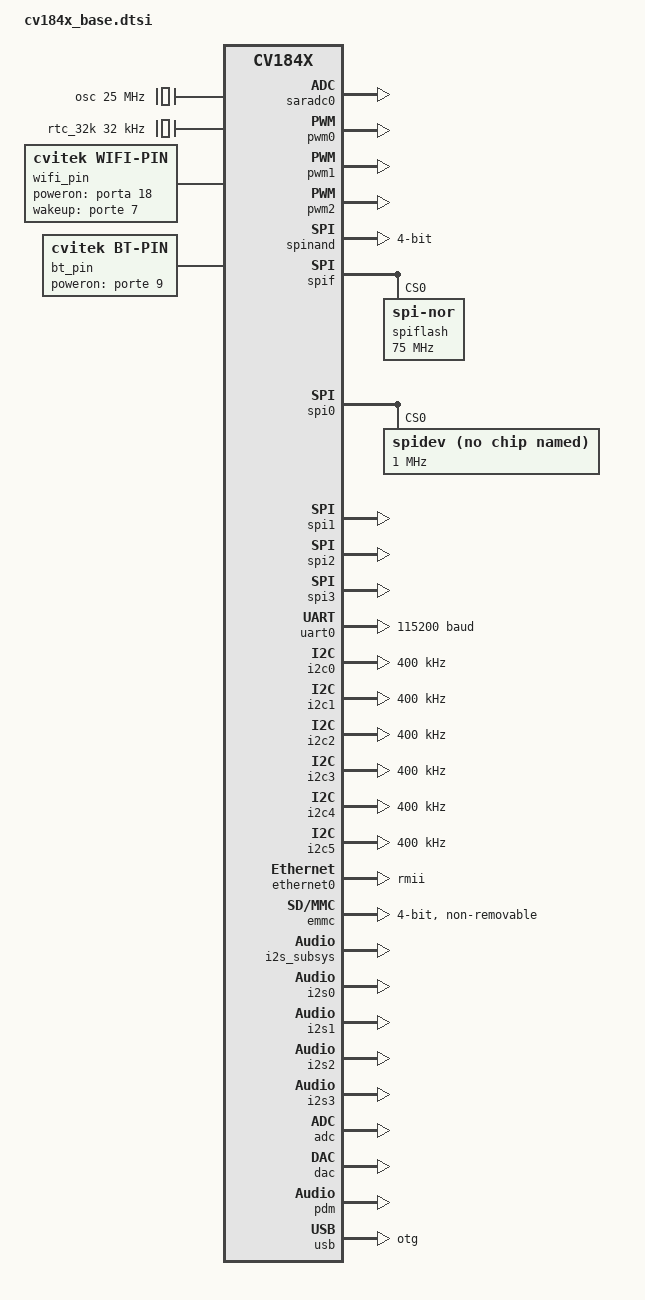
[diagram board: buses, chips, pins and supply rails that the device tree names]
#include <dt-bindings/input/input.h>
#include <dt-bindings/soc/cvitek,boot-mode.h>
#include <dt-bindings/clock/cv184x-clock.h>

/ {
	compatible = "cvitek,cv184x";

	#size-cells = <0x2>;
	#address-cells = <0x2>;

	top_misc:top_misc_ctrl@3000000 {
		compatible = "syscon";
		reg = <0x0 0x03000000 0x0 0x8000>;
	};

	clk_rst: clk-reset-controller {
		#reset-cells = <1>;
		compatible = "cvitek,clk-reset";
		reg = <0x0 0x030020E8 0x0 0x20>;
	};

	osc: oscillator {
		#clock-cells = <0>;
		compatible = "fixed-clock";
		clock-frequency = <25000000>;
		clock-output-names = "osc";
	};

	rtc_32k: rtc_32k_clk {
		clock-output-names = "rtc_32k";
		clock-frequency = <32000>;
		#clock-cells = <0>;
		compatible = "fixed-clock";
	};

	clk: clock-controller {
		compatible = "cvitek,cv184x-clk";
		reg = <0x0 0x03002000 0x0 0x1000>, <0x0 0x05025000 0 0x100>;
		clocks = <&osc>, <&rtc_32k>;
		#clock-cells = <1>;
	};

	rst: reset-controller {
		#reset-cells = <1>;
		compatible = "cvitek,reset";
		reg = <0x0 0x03003000 0x0 0x30>, <0x0 0x05025018 0 0x4>;
	};

	restart: restart-controller {
		compatible = "cvitek,restart";
		reg = <0x0 0x05025000 0x0 0x2000>;
	};

	tpu: bmtpu {
		compatible = "cvitek,tpu";
		reg-names = "tpu_gdma", "tpu_sys","tpu_reg","tpu_smem","tpu_lmem";
		reg = <0x0 0x0C000000 0x0 0x10000>,
			<0x0 0x0C010000 0x0 0x30000>,
			<0x0 0x0C040000 0x0 0x1000>,
			<0x0 0x0C041000 0x0 0x800>,
			<0x0 0x0C080000 0x0 0x8000>;
		interrupts = <GIC_SPI 89 IRQ_TYPE_LEVEL_HIGH>,
			<GIC_SPI 90 IRQ_TYPE_LEVEL_HIGH>,
			<GIC_SPI 91 IRQ_TYPE_LEVEL_HIGH>,
			<GIC_SPI 92 IRQ_TYPE_LEVEL_HIGH>,
			<GIC_SPI 93 IRQ_TYPE_LEVEL_HIGH>,
			<GIC_SPI 94 IRQ_TYPE_LEVEL_HIGH>,
			<GIC_SPI 95 IRQ_TYPE_LEVEL_HIGH>;
	};

	mon {
		compatible = "cvitek,mon";
		reg-names = "pcmon", "ddr_ctrl", "ddr_phyd", "ddr_aximon", "ddr_top";
		reg = <0x0 0x01040000 0x0 0x1000>,
			<0x0 0x08004000 0x0 0x1000>,
			<0x0 0x08006000 0x0 0x1000>,
			<0x0 0x08008000 0x0 0x1000>,
			<0x0 0x0800A000 0x0 0x1000>;
	};

	wiegand0 {
		compatible = "cvitek,wiegand";
		reg-names = "wiegand";
		reg = <0x0 0x03030000 0x0 0x1000>;
		clocks = <&clk CV184X_CLK_WGN0>;
		clock-names = "clk_wgn0";
		resets = <&rst RST_WGN0>;
		reset-names = "res_wgn";
	};

	wiegand1 {
		compatible = "cvitek,wiegand";
		reg-names = "wiegand";
		reg = <0x0 0x03031000 0x0 0x1000>;
		clocks = <&clk CV184X_CLK_WGN1>;
		clock-names = "clk_wgn1";
		resets = <&rst RST_WGN1>;
		reset-names = "res_wgn";
	};

	wiegand2 {
		compatible = "cvitek,wiegand";
		reg-names = "wiegand";
		reg = <0x0 0x03032000 0x0 0x1000>;
		clocks = <&clk CV184X_CLK_WGN2>;
		clock-names = "clk_wgn2";
		resets = <&rst RST_WGN2>;
		reset-names = "res_wgn";
	};

	saradc0: saradc@0x030F0000 {
		compatible = "cvitek,saradc";
		reg-names = "saradc0", "saradc1", "saradc2", "rtc_saradc0", "rtc_saradc1";
		reg = <0x0 0x030F0000 0x0 0x1000>, <0x0 0x030F1000 0x0 0x1000>,
		      <0x0 0x030F2000 0x0 0x1000>, <0x0 0x0502C000 0x0 0x1000>,
		      <0x0 0x0502F000 0x0 0x1000>;
		clocks = <&clk CV184X_CLK_SARADC>, <&clk CV184X_CLK_RTC_SYS_SARADC>;
		clock-names = "clk_saradc","clk_rtc_sys_saradc";
		resets = <&rst RST_SARADC>;
		reset-names = "res_saradc";
		#io-channel-cells = <1>;
	};

	rtc {
		compatible = "cvitek,rtc";
		reg = <0x0 0x05026000 0x0 0x1000>,<0x0 0x05025000 0x0 0x1000>;
	};

#ifndef __UBOOT__
	cvitek-ion {
		compatible = "cvitek,cvitek-ion";

		heap_carveout@0 {
			compatible = "cvitek,carveout";
			memory-region = <&ion_reserved>;
		};
	};
#endif

	sysdma_remap {
		compatible = "cvitek,sysdma_remap";
		reg = <0x0 0x03000154 0x0 0x10>;
		ch-remap = <CVI_I2S0_RX CVI_I2S2_TX CVI_I2S1_RX CVI_I2S1_TX
					CVI_SPI_NAND CVI_SPI_NAND CVI_I2S2_RX CVI_I2S3_TX>;
		int_mux_base = <0x03000298>;
		int_mux = <0x1FF>; /* enable bit [0..8] for CPU0(CA53) */
	};

	dmac: dma@0x4330000 {
		compatible = "snps,dmac-bm";
		reg = <0x0 0x04330000 0x0 0x1000>;
		clock-names = "clk_sdma0_axi";
		clocks = <&clk CV184X_CLK_SDMA0_AXI>;

		dma-channels = /bits/ 8 <8>;
		#dma-cells = <3>;
		dma-requests = /bits/ 8 <16>;
		chan_allocation_order = /bits/ 8 <0>;
		chan_priority = /bits/ 8 <1>;
		block_size = <1024>;
		dma-masters = /bits/ 8 <2>;
		data-width = <4 4>; /* bytes */
		axi_tr_width = <4>; /* bytes */
		block-ts = <15>;
	};

	watchdog0: cv-wd@0x3010000 {
		compatible = "snps,dw-wdt";
		reg = <0x0 0x03010000 0x0 0x1000>;
		interrupts = <GIC_SPI 76 IRQ_TYPE_LEVEL_HIGH>;
		resets = <&rst RST_WDT0>;
		clocks = <&clk CV184X_CLK_APB_WDT>, <&clk CV184X_CLK_WDT_PCLK>;
		clock-names = "pclk", "tclk";
	};

	spacc: cvi_spacc@02060000 {
		reg = <0x0 0x02060000 0x0 0x1000>;
		compatible = "cvitek,spacc";
		clocks = <&clk CV184X_CLK_EFUSE>, <&clk CV184X_CLK_EFUSE_PCLK>;
		clock-names = "tclk","pclk";
	};

	trng: dw_trng@0x02070000 {
		reg = <0x0 0x02070000 0x0 0x1000>;
		compatible = "snps,dw-trng";
	};

	pwm0: pwm@3060000 {
		compatible = "cvitek,cvi-pwm";
		reg = <0x0 0x3060000 0x0 0x1000>;
		clocks = <&clk CV184X_CLK_PWM>;
		#pwm-cells = <1>;
	};

	pwm1: pwm@3061000 {
		compatible = "cvitek,cvi-pwm";
		reg = <0x0 0x3061000 0x0 0x1000>;
		clocks = <&clk CV184X_CLK_PWM>;
		#pwm-cells = <2>;
	};

	pwm2: pwm@3062000 {
		compatible = "cvitek,cvi-pwm";
		reg = <0x0 0x3062000 0x0 0x1000>;
		clocks = <&clk CV184X_CLK_PWM>;
		#pwm-cells = <3>;
	};

	spinand:cv-spinf@4060000 {
		compatible = "cvitek,cv1835-spinf";
		clocks = <&clk CV184X_CLK_SPI_NAND>, <&clk CV184X_CLK_SPI_NAND_GATE>;
		clock-names = "clk_nand", "clk_axi";
		reg = <0x0 0x4060000 0x0 0x1000>;
		reg-names = "core_mem";
		bus-width = <4>;
		dmas = <&dmac 4 1 1
			&dmac 5 1 1>;
		dma-names = "rx","tx";
	};

	spif:cvi-spif@10000000 {
		u-boot,dm-spl;
		compatible = "snps,dw-apb-ssi-4.04a";
		clocks = <&clk CV184X_CLK_SPI_NOR>, <&clk CV184X_CLK_AHB_SF>;
		clock-names = "", "clk_sf";
		reg = <0x0 0x10000000 0x0 0x1000>;
		/* current work frequency in kernel: */
		spi-work-frequency = <75000000>;
		/* current work frequency in u-boot: */
		spi-max-frequency = <75000000>;
		rx-sample-delay-ns = <1>;
		txd-drive-edge = <0>;
		#address-cells = <1>;
		#size-cells = <0>;
		reg-io-width = <4>;
		num-cs = <1>;
		dmas = <&dmac 4 1 1
			&dmac 5 1 1>;
		dma-names = "rx", "tx";
		capability = "rxtx";
		spiflash {
			/* Max work frequency in kernel: */
			spi-max-frequency = <75000000>;
			compatible = "jedec,spi-nor";
			spi-tx-bus-width = <4>;
			spi-rx-bus-width = <4>;
			reg = <0>;
		};
	};

	spi0:spi0@04180000 {
		compatible = "snps,dw-apb-ssi";
		reg = <0x0 0x04180000 0x0 0x10000>;
		clocks = <&clk CV184X_CLK_APB_SPI0>;
		#address-cells = <1>;
		#size-cells = <0>;
#if 0
		dmas = <&dmac 2 1 1
			&dmac 3 1 1>;
		dma-names = "rx", "tx";
		capability = "txrx";
#endif
		status = "okay";
		num-cs = <1>;
		spidev@0 {
			compatible = "rohm,dh2228fv";
			spi-max-frequency = <1000000>;
			reg = <0>;
		};
	};

	spi1:spi1@04190000 {
		compatible = "snps,dw-apb-ssi";
		reg = <0x0 0x04190000 0x0 0x10000>;
		clocks = <&clk CV184X_CLK_APB_SPI1>;
		#address-cells = <1>;
		#size-cells = <0>;
	};

	spi2:spi2@041A0000 {
		compatible = "snps,dw-apb-ssi";
		reg = <0x0 0x041A0000 0x0 0x10000>;
		clocks = <&clk CV184X_CLK_APB_SPI2>;
		#address-cells = <1>;
		#size-cells = <0>;
	};

	spi3:spi3@041B0000 {
		compatible = "snps,dw-apb-ssi";
		reg = <0x0 0x041B0000 0x0 0x10000>;
		clocks = <&clk CV184X_CLK_APB_SPI3>;
		#address-cells = <1>;
		#size-cells = <0>;
#if 0
		dmas = <&dmac 2 1 1
			&dmac 3 1 1>;
		dma-names = "rx", "tx";
		capability = "txrx";
#endif
	};

	uart0: serial@04140000 {
		compatible = "snps,dw-apb-uart";
		reg = <0x0 0x04140000 0x0 0x1000>;
		clocks = <&clk CV184X_CLK_UART0>;
		clock-names = "baudclk";
		clock-frequency = <25000000>;
		current-speed = <115200>;
		reg-shift = <2>;
		reg-io-width = <4>;
		status = "okay";
	};

	uart1: serial@04150000 {
		compatible = "snps,dw-apb-uart";
		reg = <0x0 0x04150000 0x0 0x1000>;
		clocks = <&clk CV184X_CLK_UART1>;
		clock-names = "baudclk";
		clock-frequency = <200000000>;
		reg-shift = <2>;
		reg-io-width = <4>;
		status = "disabled";
	};

	uart2: serial@04160000 {
		compatible = "snps,dw-apb-uart";
		reg = <0x0 0x04160000 0x0 0x1000>;
		clock-frequency = <200000000>;
		clocks = <&clk CV184X_CLK_UART2>;
		clock-names = "baudclk";
		reg-shift = <2>;
		reg-io-width = <4>;
		status = "disabled";
	};

	uart3: serial@04170000 {
		compatible = "snps,dw-apb-uart";
		reg = <0x0 0x04170000 0x0 0x1000>;
		clock-frequency = <200000000>;
		clocks = <&clk CV184X_CLK_UART3>;
		clock-names = "baudclk";
		reg-shift = <2>;
		reg-io-width = <4>;
		status = "disabled";
	};

	uart4: serial@041C0000 {
		compatible = "snps,dw-apb-uart";
		reg = <0x0 0x041C0000 0x0 0x1000>;
		clock-frequency = <200000000>;
		clocks = <&clk CV184X_CLK_UART4>;
		clock-names = "baudclk";
		reg-shift = <2>;
		reg-io-width = <4>;
		status = "disabled";
	};

	gpio0: gpio@03020000 {
		compatible = "snps,dw-apb-gpio";
		reg = <0x0 0x03020000 0x0 0x1000>;
		#address-cells = <1>;
		#size-cells = <0>;

		porta: gpio-controller@0 {
			compatible = "snps,dw-apb-gpio-port";
			bank-name = "porta";
			gpio-controller;
			#gpio-cells = <2>;
			snps,nr-gpios = <32>;
			reg = <0>;
		};
	};

	gpio1: gpio@03021000 {
		compatible = "snps,dw-apb-gpio";
		reg = <0x0 0x03021000 0x0 0x1000>;
		#address-cells = <1>;
		#size-cells = <0>;

		portb: gpio-controller@1 {
			compatible = "snps,dw-apb-gpio-port";
			bank-name = "portb";
			gpio-controller;
			#gpio-cells = <2>;
			snps,nr-gpios = <32>;
			reg = <0>;
		};
	};

	gpio2: gpio@03022000 {
		compatible = "snps,dw-apb-gpio";
		reg = <0x0 0x03022000 0x0 0x1000>;
		#address-cells = <1>;
		#size-cells = <0>;

		portc: gpio-controller@2 {
			compatible = "snps,dw-apb-gpio-port";
			bank-name = "portc";
			gpio-controller;
			#gpio-cells = <2>;
			snps,nr-gpios = <32>;
			reg = <0>;
		};
	};

	gpio3: gpio@03023000 {
		compatible = "snps,dw-apb-gpio";
		reg = <0x0 0x03023000 0x0 0x1000>;
		#address-cells = <1>;
		#size-cells = <0>;

		portd: gpio-controller@3 {
			compatible = "snps,dw-apb-gpio-port";
			bank-name = "portd";
			gpio-controller;
			#gpio-cells = <2>;
			snps,nr-gpios = <32>;
			reg = <0>;
		};
	};

	gpio4: gpio@05021000 {
		compatible = "snps,dw-apb-gpio";
		reg = <0x0 0x05021000 0x0 0x1000>;
		#address-cells = <1>;
		#size-cells = <0>;

		porte: gpio-controller@4 {
			compatible = "snps,dw-apb-gpio-port";
			bank-name = "porte";
			gpio-controller;
			#gpio-cells = <2>;
			snps,nr-gpios = <32>;
			reg = <0>;
		};
	};

	i2c0: i2c@04000000 {
		compatible = "snps,designware-i2c";
		clocks = <&clk CV184X_CLK_APB_I2C0>;
		reg = <0x0 0x04000000 0x0 0x1000>;
		clock-frequency = <400000>;

		#size-cells = <0x0>;
		#address-cells = <0x1>;
		resets = <&rst RST_I2C0>;
		reset-names = "i2c0";
	};

	i2c1: i2c@04010000 {
		compatible = "snps,designware-i2c";
		clocks = <&clk CV184X_CLK_APB_I2C1>;
		reg = <0x0 0x04010000 0x0 0x1000>;
		clock-frequency = <400000>;

		#size-cells = <0x0>;
		#address-cells = <0x1>;
		resets = <&rst RST_I2C1>;
		reset-names = "i2c1";
	};

	i2c2: i2c@04020000 {
		compatible = "snps,designware-i2c";
		clocks = <&clk CV184X_CLK_APB_I2C2>;
		reg = <0x0 0x04020000 0x0 0x1000>;
		clock-frequency = <400000>;
		resets = <&rst RST_I2C2>;
		reset-names = "i2c2";
	};

	i2c3: i2c@04030000 {
		compatible = "snps,designware-i2c";
		clocks = <&clk CV184X_CLK_APB_I2C3>;
		reg = <0x0 0x04030000 0x0 0x1000>;
		clock-frequency = <400000>;

		#size-cells = <0x0>;
		#address-cells = <0x1>;
		resets = <&rst RST_I2C3>;
		reset-names = "i2c3";
	};

	i2c4: i2c@04040000 {
		compatible = "snps,designware-i2c";
		clocks = <&clk CV184X_CLK_APB_I2C4>;
		reg = <0x0 0x04040000 0x0 0x1000>;
		clock-frequency = <400000>;
		resets = <&rst RST_I2C4>;
		reset-names = "i2c4";
	};

	i2c5: i2c@0502B000 {
		compatible = "snps,designware-i2c";
		clocks = <&clk CV184X_CLK_RTC_SYS_I2C>;
		reg = <0x0 0x0502B000 0x0 0x1000>;
		clock-frequency = <400000>;

		#size-cells = <0x0>;
		#address-cells = <0x1>;
		resets = <&rst RST_RTC_I2C>;
		reset-names = "i2c5";
	};

	eth_csrclk: eth_csrclk {
		clock-output-names = "eth_csrclk";
		clock-frequency = <250000000>;
		#clock-cells = <0x0>;
		compatible = "fixed-clock";
	};

	eth_ptpclk: eth_ptpclk {
		clock-output-names = "eth_ptpclk";
		clock-frequency = <50000000>;
		#clock-cells = <0x0>;
		compatible = "fixed-clock";
	};

	stmmac_axi_setup: stmmac-axi-config {
		snps,wr_osr_lmt = <1>;
		snps,rd_osr_lmt = <2>;
		snps,blen = <4 8 16 0 0 0 0>;
	};

	mtl_rx_setup: rx-queues-config {
		snps,rx-queues-to-use = <1>;
		queue0 {};
	};

	mtl_tx_setup: tx-queues-config {
		snps,tx-queues-to-use = <1>;
		queue0 {};
	};

	ethernet0: ethernet@4070000 {
		compatible = "cvitek,ethernet";
		reg = <0x0 0x04070000 0x0 0x10000>;
		clock-names = "clk_500m_eth", "clk_axi4_eth", "stmmaceth", "ptp_ref";
		clocks = <&clk CV184X_CLK_ETHER0_ETH_PLL>,
			<&clk CV184X_CLK_AXI4_ETH0>,
			<&eth_csrclk>,
			<&eth_ptpclk>;
		//phy-reset-gpios = <&porta 26 0>;
		ephy_base_reg = <0x3009000>;
		ephy_top_reg = <0x3009800>;
		tx-fifo-depth = <8192>;
		rx-fifo-depth = <8192>;
		/* no hash filter and perfect filter support */
		snps,multicast-filter-bins = <0>;
		snps,perfect-filter-entries = <1>;
		snps,txpbl = <8>;
		snps,rxpbl = <8>;
		snps,aal;

		snps,axi-config = <&stmmac_axi_setup>;
		snps,mtl-rx-config = <&mtl_rx_setup>;
		snps,mtl-tx-config = <&mtl_tx_setup>;

		phy-mode = "rmii";
	};

	emmc:cv-emmc@4300000 {
		u-boot,dm-spl;
		compatible = "cvitek,cv184x-emmc";
		reg = <0x0 0x4300000 0x0 0x1000>;
		reg-names = "core_mem";
		bus-width = <4>;
		non-removable;
		no-sdio;
		no-sd;
		src-frequency = <400000000>;
		min-frequency = <400000>;
		max-frequency = <200000000>;
		64_addressing;
		reset_tx_rx_phy;
		pll_reg = <0x30020a0>;
		pll_index = <0x180>;
		clocks = <&clk CV184X_CLK_EMMC_CARD>, <&clk CV184X_CLK_AXI4_EMMC>;
		clock-names = "clk_emmc", "clk_axi";
	};

	sd:cv-sd@4310000 {
		compatible = "cvitek,cv184x-sd";
		reg = <0x0 0x4310000 0x0 0x1000>;
		reg-names = "core_mem";
		bus-width = <4>;
		cap-sd-highspeed;
		src-frequency = <400000000>;
		min-frequency = <400000>;
		max-frequency = <200000000>;
		no-sdio;
		no-mmc;
		/*no-1-8-v;*/
		64_addressing;
		reset_tx_rx_phy;
		reset-names = "sdhci";
		pll_reg = <0x3002098>;
		pll_index = <0x18>;
		clocks = <&clk CV184X_CLK_SD0>, <&clk CV184X_CLK_AXI4_SD0>;
		clock-names = "clk_sd", "clk_axi";
	};

	wifisd:wifi-sd@4320000 {
		compatible = "cvitek,cv184x-sdio";
		bus-width = <4>;
		reg = <0x0 0x4320000 0x0 0x1000>;
		reg_names = "core_mem";
		src-frequency = <400000000>;
		min-frequency = <400000>;
		max-frequency = <50000000>;
		64_addressing;
		reset_tx_rx_phy;
		non-removable;
		pll_index = <0x60>;
		pll_reg = <0x300209C>;
		clocks = <&clk CV184X_CLK_SD1>, <&clk CV184X_CLK_AXI4_SD1>;
		clock-names = "clk_wifisd", "clk_axi";
		no-mmc;
		no-sd;
		status = "disabled";
	};

	i2s_subsys {
		compatible = "cvitek,i2s_tdm_subsys";
		reg = <0x0 0x04108000 0x0 0x100>;
		clocks = <&clk CV184X_CLK_A0PLL>, <&clk CV184X_CLK_A24K>,
			<&clk CV184X_CLK_AUD0>, <&clk CV184X_CLK_AUD1>,
			<&clk CV184X_CLK_AUD2>, <&clk CV184X_CLK_AUD3>;
		clock-names = "clk_a0pll", "a24k",
			"clk_aud0", "clk_aud1",
			"clk_aud2", "clk_aud3";
		default-freq = <24576000>;
	};

	i2s0: i2s@4100000 {
		compatible = "cvitek,cvitek-i2s";
		reg = <0x0 0x04100000 0x0 0x2000>;
		clocks = <&clk CV184X_CLK_AUD0>;
		clock-names = "clk_aud0";
		dev-id = <0>;
		#sound-dai-cells = <0>;
		dmas = <&dmac 0 1 1>; /* read channel */
		dma-names = "rx";
		capability = "rx"; /* I2S0 connect to internal ADC as RX */
		mclk_out = "false";
	};

	i2s1: i2s@4110000 {
		compatible = "cvitek,cvitek-i2s";
		reg = <0x0 0x04110000 0x0 0x2000>;
		clocks = <&clk CV184X_CLK_AUD1>;
		clock-names = "clk_aud1";
		dev-id = <1>;
		#sound-dai-cells = <0>;
		dmas = <&dmac 2 1 1 /* read channel */
			&dmac 3 1 1>; /* write channel */
		dma-names = "rx", "tx";
		capability = "txrx";
		mclk_out = "false";
	};

	i2s2: i2s@4120000 {
		compatible = "cvitek,cvitek-i2s";
		reg = <0x0 0x04120000 0x0 0x2000>;
		clocks = <&clk CV184X_CLK_AUD2>;
		clock-names = "clk_aud2";
		dev-id = <2>;
		#sound-dai-cells = <0>;
		dmas = <&dmac 6 1 1 /* read channel */
			&dmac 1 1 1>; /* write channel */
		dma-names = "rx", "tx";
		capability = "txrx";
		mclk_out = "false";

	};

	i2s3: i2s@4130000 {
		compatible = "cvitek,cvitek-i2s";
		reg = <0x0 0x04130000 0x0 0x2000>;
		clocks = <&clk CV184X_CLK_AUD3>;
		clock-names = "clk_aud3";
		dev-id = <3>;
		#sound-dai-cells = <0>;
		dmas = <&dmac 7 1 1>; /* write channel */
		dma-names = "tx";
		capability = "tx"; /* I2S3 connect to internal DAC as TX */
		mclk_out = "true";
	};

	adc: adc@300A100 {
		compatible = "cvitek,cvitek_adc";
		reg = <0x0 0x0300A100 0x0 0x100>;
		clocks = <&clk CV184X_CLK_AUD0>;
		clock-names = "clk_aud0";


		dev_id = <0>;
		dac_addr = <0x0300A000>;
		bind_i2s = <0>;
		sdma_clk_en = <0x3002004>;
		reset_cntl = <0x03003000>, <12>;	/* ip soft reset */
	};

	dac: dac@300A000 {
		compatible = "cvitek,cvitek_dac";
		reg = <0x0 0x0300A000 0x0 0x100>;
		clocks = <&clk CV184X_CLK_AUD3>;
		clock-names = "clk_aud3";

		dev_id = <0>;
		bind_i2s = <3>;
		sdma_clk_en = <0x3002004>;
		reset_cntl = <0x03003000>, <11>;	/* ip soft reset */
	};

	pdm: pdm@41D0C00 {
		compatible = "cvitek,cvitek_pdm";
		reg = <0x0 0x041D0C00 0x0 0x100>;
		clocks = <&clk CV184X_CLK_AUD1>;
		clock-names = "clk_aud1";
	};

	sound_adc {
		compatible = "cvitek,cvitek-card-adc";
		card_name = "adc_card";

		dai@0 {
			dai_name = "dai_codec_adc0";
			stream_name = "dai_record0";
			cpu_dai_name = "4100000.i2s";
			codec_dai_name = "300a100.adc";
			platform_name = "4100000.i2s";
			codec_name = "adc";
			stream_type = "capture";
			mode = "I2S";
			fmt = "IBNF";
			role = "slave";
			slot_no = <2>;
			status = "okay";
			//adc0:0300A100 - i2s0:04100000;
		};
#if 0
		dai@1 {
			dai_name = "dai_codec_pdm";
			stream_name = "dai_pdm";
			cpu_dai_name = "4110000.i2s";
			codec_dai_name = "41D0C00.pdm";
			platform_name = "4110000.i2s";
			codec_name = "pdm";
			stream_type = "capture";
			mode = "I2S";
			fmt = "IBNF";
			role = "slave";
			slot_no = <2>;
			status = "disabled";
			//pdm:041D0C00 - i2s1:04110000;
		};
#endif
	};

	sound_dac {
		compatible = "cvitek,cvitek-card-dac";
		card_name = "dac_card";

		dai@0 {
			dai_name = "dai_codec_dac0";
			stream_name = "dai_playback0";
			cpu_dai_name = "4130000.i2s";
			codec_dai_name = "300a000.dac";
			platform_name = "4130000.i2s";
			codec_name = "dac";
			stream_type = "playback";
			mode = "I2S";
			fmt = "IBNF";
			role = "master";
			slot_no = <2>;
		};
	};

	sound_ext {
		compatible = "cvitek,cvitek-ext";
		model = "cvitek";
		card_name = "ext_sound_card";
		status = "okay";
		dai@0 {
			dai_name = "ext_record";
			stream_name = "record_stream";
			cpu_dai_name = "4120000.i2s";
			codec_dai_name = "dummy_codec";
			platform_name = "4120000.i2s";
			codec_name = "dummy_codec-aif";
			stream_type = "capture";
			mode = "I2S";
			fmt = "IBNF";
			role = "master";
			slot_no=<2>;
		};

		dai@1 {
			dai_name = "ext_playback";
			stream_name = "play_stream";
			cpu_dai_name = "4110000.i2s";
			codec_dai_name = "dummy_codec";
			platform_name = "4110000.i2s";
			codec_name = "dummy_codec-aif";
			stream_type = "playback";
			mode = "I2S";
			fmt = "IBNF";
			role = "master";
			slot_no=<2>;
		};
	};

	wifi_pin: wifi_pin@0 {
		compatible = "cvitek,wifi-pin";
		poweron-gpio = <&porta 18 GPIO_ACTIVE_HIGH>;
		wakeup-gpio = <&porte 7 GPIO_ACTIVE_HIGH>;
	};

	bt_pin {
		compatible = "cvitek,bt-pin";
		poweron-gpio = <&porte 9 GPIO_ACTIVE_HIGH>;
	};

	base {
		compatible = "cvitek,base";
	};

	sys {
		compatible = "cvitek,sys";
		reg = <0x0 0x0a090000 0x0 0x4000>,
				<0x0 0x3000000 0x0 0x10>,
				<0x0 0x05026000 0x0 0x100>;
		reg-names = "vi_sys", "top_base", "rtc_base";
	};

	mipi_rx: cif {
		compatible = "cvitek,cif";
		reg = <0x0 0x0a0a0000 0x0 0x2000>, <0x0 0x0a0a6000 0x0 0x1000>,
		      <0x0 0x0a0a2000 0x0 0x2000>, <0x0 0x0a0a4000 0x0 0x2000>;
		reg-names = "csi_mac0", "csi_wrap0", "csi_mac1", "csi_mac2";
		clocks = <&clk CV184X_CLK_CAM0_VIP>, <&clk CV184X_CLK_CAM1_VIP>, <&clk CV184X_CLK_CAM2_VIP>;
		clock-names = "clk_cam[0]", "clk_cam[1]", "clk_cam[2]";
	};

	mipi_tx: mipi_tx {
		compatible = "cvitek,mipi_tx";
		clocks = <&clk CV184X_CLK_DISP_VIP>, <&clk CV184X_CLK_DSI_MAC_VIP>;
		clock-names = "reg_clk_disp_vip_en", "reg_clk_dsi_mac_vip_en";
	};

	fb {
		compatible = "cvitek,fb";
		reg =   <0x0 0x0a094000 0x0 0x2000>, <0x0 0x0a0aa000 0x0 0x100>;
		reg-names = "disp", "oenc";
	};

	vpss {
		compatible = "cvitek,vpss";
		reg = <0x0 0x0a080000 0x0 0x10000>;
		reg-names = "vpss";
		clocks = <&clk CV184X_CLK_VPSS0_VIP>, <&clk CV184X_CLK_VPSS1_VIP>,
				<&clk CV184X_CLK_VPSS2_VIP>, <&clk CV184X_CLK_VPSS3_VIP>;
		clock-names = "reg_clk_vpss0_vip_en", "reg_clk_vpss1_vip_en",
				"reg_clk_vpss2_vip_en", "reg_clk_vpss3_vip_en";
	};

	vi {
		compatible = "cvitek,vi";
		reg = <0x0 0x0a000000 0x0 0x80000>;
		clocks = <&clk CV184X_CLK_CSI_MAC0_VIP>, <&clk CV184X_CLK_CSI_MAC1_VIP>, <&clk CV184X_CLK_CSI_MAC2_VIP>,
				<&clk CV184X_CLK_CSI_BE_VIP>;
		clock-names = "reg_clk_csi_mac0_vip_en", "reg_clk_csi_mac1_vip_en", "reg_clk_csi_mac2_vip_en",
				"reg_clk_csi_be_vip_en";
	};

	codec_vepu {
		compatible = "cvitek,encoder-bke";
		reg = <0x0 0x0B020000 0x0 0x10000>,<0x0 0x0B030000 0x0 0x100>,
				<0x0 0x0B058000 0x0 0x100>,<0x0 0x0B050000 0x0 0x400>;
		reg-names = "vepu","vc_ctrl","vc_sbm","vc_addr_remap";
		clocks = <&clk CV184X_CLK_VC_SRC0>, <&clk CV184X_CLK_APB_VE>;
		clock-names = "reg_vc_clk_vc_src0_en", "reg_clk_apb_en_ve";
	};

	codec_jpu {
		compatible = "cvitek,codec-jpeg";
		reg = <0x0 0x0B000000 0x0 0x10000>;
		reg-names = "jpeg_ctrl";
		clocks = <&clk CV184X_CLK_VC_SRC1>, <&clk CV184X_CLK_APB_JPEG>;
		clock-names = "reg_vc_clk_vc_src1_en", "reg_clk_apb_en_jpeg";
	};

	vc_drv {
		compatible = "cvitek,vc_drv";
		clocks = <&clk CV184X_CLK_VIDEO_AXI>, <&clk CV184X_CLK_APB_VCSYS>;
		clock-names = "reg_vc_clk_video_axi_en", "reg_clk_apb_en_vcsys";
	};

	vo {
		compatible = "cvitek,vo";
		reg =   <0x0 0x0a094000 0x0 0x2000>,
			<0x0 0x0a099000 0x0 0x1000>,
			<0x0 0x0a098000 0x0 0x1000>,
			<0x0 0x0a0a8000 0x0 0x1000>,
			<0x0 0x0a090000 0x0 0x4000>;
		reg-names = "disp", "dsi_mac", "dsi_phy", "vo_mac", "vi_sys";
		reset-gpio = <&porte 2 GPIO_ACTIVE_LOW>;
		pwm-gpio = <&porte 0 GPIO_ACTIVE_HIGH>;
		power-ct-gpio = <&porte 1 GPIO_ACTIVE_HIGH>;
		clocks = <&clk CV184X_CLK_DISP_VIP>, <&clk CV184X_CLK_DSI_MAC_VIP>, <&clk CV184X_CLK_VO_MAC_VIP>;
		clock-names = "reg_clk_disp_vip_en", "reg_clk_dsi_mac_vip_en", "reg_clk_vo_mac_vip_en";
	};

	rgn {
		compatible = "cvitek,rgn";
	};

	gdc {
		compatible = "cvitek,gdc";
		reg = <0x0 0x0a096000 0x0 0x2000>;
		reg-names = "ldc0";
		clocks = <&clk CV184X_CLK_LDC_VIP>;
		clock-names = "reg_clk_ldc_vip_en";
	};

	tde {
		compatible = "cvitek,tde";
		reg = <0x0 0x0a0a9000 0x0 0x2000>;
		clocks = <&clk CV184X_CLK_2DE_VIP>;
		clock-names = "reg_clk_2de_vip_en";
	};


#if CVIMMAP_RTOS_SYS_TOTAL_SIZE > 0
	rtos_cmdqu {
		compatible = "cvitek,rtos_cmdqu";
		reg = <0x0 0x01900000 0x0 0x1000>;
		shared_addr = <CVIMMAP_SHARE_MEM_ADDR>;
		shared_size = <CVIMMAP_SHARE_MEM_SIZE>;
		rtos_ion_addr = <CVIMMAP_RTOS_ION_ADDR>;
		rtos_ion_size = <CVIMMAP_RTOS_ION_SIZE>;
		rtos_log_addr = <CVIMMAP_RTOS_LOG_ADDR>;
		rtos_log_size = <CVIMMAP_RTOS_LOG_SIZE>;
		reg-names = "mailbox";
		interrupts = <GIC_SPI 112 IRQ_TYPE_LEVEL_HIGH>;
		interrupt-names = "mailbox";
	};
#endif
	usb: usb@04340000 {
		compatible = "cvitek,cv182x-usb";
		reg = <0x0 0x04340000 0x0 0x10000>,
			<0x0 0x03006000 0x0 0x58>;	//USB 2.0 PHY
		dr_mode = "otg";
		g-use-dma;
		g-rx-fifo-size = <536>;
		g-np-tx-fifo-size = <32>;
		g-tx-fifo-size = <768 512 512 384 128 128>;
		clocks = <&clk CV184X_CLK_USB20_BUS_EARLY>,
				<&clk CV184X_CLK_USB20_SUSPEND>,
				<&clk CV184X_CLK_USB20_REF>,
				<&clk CV184X_CLK_USB20_CORECLKIN>;
		clock-names = "clk_usb20_bus_early", "clk_usb20_suspend", "clk_usb20_ref", "clk_usb20_coreclkin";
#if 0
		clocks = <&clk CV184X_CLK_AXI4_USB>,
				<&clk CV184X_CLK_APB_USB>,
				<&clk CV184X_CLK_125M_USB>,
				<&clk CV184X_CLK_33K_USB>,
				<&clk CV184X_CLK_12M_USB>;
		clock-names = "clk_axi", "clk_apb", "clk_125m", "clk_33k", "clk_12m";
#endif
		vbus-gpio = <&portb 6 0>;
		status = "okay";
	};

	thermal:thermal@030E0000 {
		compatible = "cvitek,cv184x-thermal";
		reg = <0x0 0x030E0000 0x0 0x10000>;
		clocks = <&clk CV184X_CLK_TEMPSEN>;
		clock-names = "clk_tempsen";
		reset-names = "tempsen";
		#thermal-sensor-cells = <1>;
	};

	thermal-zones {
		soc_thermal_0: soc_thermal_0 {
			polling-delay-passive = <1000>; /* milliseconds */
			polling-delay = <1000>; /* milliseconds */
			thermal-sensors = <&thermal 0>;

			trips {
				soc_thermal_trip_0: soc_thermal_trip_0 {
					temperature = <90000>; /* millicelsius */
					hysteresis = <5000>; /* millicelsius */
					type = "passive";
				};

				soc_thermal_trip_1: soc_thermal_trip_1 {
					temperature = <100000>; /* millicelsius */
					hysteresis = <5000>; /* millicelsius */
					type = "passive";
				};

				soc_thermal_crtical_0: soc_thermal_crtical_0 {
					temperature = <120000>; /* millicelsius */
					hysteresis = <0>; /* millicelsius */
					type = "critical";
				};
			};

			cooling-maps {
				map0 {
					trip = <&soc_thermal_trip_0>;
					cooling-device = <&cv184x_cooling 1 1>;
				};

				map1 {
					trip = <&soc_thermal_trip_1>;
					cooling-device = <&cv184x_cooling 2 2>;
				};
			};

		};
	};

	cvipctrl: pinctrl@3001000 {
		compatible = "cvitek,pinctrl-cv184x";
		reg = <0 0x03001000 0 0x1000>;
	};

    irrx:irrx@0502E000 {
		compatible = "cvitek,irrx";
		clocks = <&clk CV184X_CLK_RTC_SYS_IRRX>;
		clock-names = "clk_rtc_sys_irrx";
		reg = <0x0 0x0502E000 0x0 0x1000>;
	};

	keyscan:keyscan@03040000 {
		compatible = "cvitek,keyscan";
		reg = <0x0 0x03040000 0x0 0x10000>;
		clocks	= <&clk CV184X_CLK_KEYSCAN_XCLK>;
		resets = <&rst RST_KEYSCAN>;
		reset-names = "res_keyscan";
		keypad,num-rows = <4>;
		keypad,num-columns = <4>;
		mode = <1>;

		// row << 24 | column << 16 | key-code
		linux,keymap = < MATRIX_KEY(0x00, 0x00, KEY_F13)
				MATRIX_KEY(0x00, 0x01, KEY_F9)
				MATRIX_KEY(0x00, 0x02, KEY_F5)
				MATRIX_KEY(0x00, 0x03, KEY_F1)
				MATRIX_KEY(0x01, 0x00, KEY_F14)
				MATRIX_KEY(0x01, 0x01, KEY_F10)
				MATRIX_KEY(0x01, 0x02, KEY_F6)
				MATRIX_KEY(0x01, 0x03, KEY_F2)
				MATRIX_KEY(0x02, 0x00, KEY_F15)
				MATRIX_KEY(0x02, 0x01, KEY_F11)
				MATRIX_KEY(0x02, 0x02, KEY_F7)
				MATRIX_KEY(0x02, 0x03, KEY_F3)
				MATRIX_KEY(0x03, 0x00, KEY_F16)
				MATRIX_KEY(0x03, 0x01, KEY_F12)
				MATRIX_KEY(0x03, 0x02, KEY_F8)
				MATRIX_KEY(0x03, 0x03, KEY_F4) >;
	};

	reboot_arg: syscon@0x05026ff0 {
		compatible = "syscon", "simple-mfd";
		reg = <0x0 0x05026ff0 0x0 0x4>;
		#address-cells = <1>;
		#size-cells = <1>;
		reboot-mode {
			compatible = "syscon-reboot-mode";
			offset = <0x0>;
			mode-normal = <BOOT_NORMAL>;
			mode-recovery = <BOOT_RECOVERY>;
			mode-loader = <BOOT_BL_DOWNLOAD>;
			mode-charge = <BOOT_CHARGING>;
			mode-rootfsa = <BOOT_ROOTFSA>;
			mode-rootfsb = <BOOT_ROOTFSB>;
			status = "okay";
		};
	};

	config {
		load-environment = <1>;
	};

	aliases {
		i2c0 = &i2c0;
		i2c1 = &i2c1;
		i2c2 = &i2c2;
		i2c3 = &i2c3;
		i2c4 = &i2c4;
		i2c5 = &i2c5;
		//spi0 = &spi0;
		//spi1 = &spi1;
		//spi2 = &spi2;
		//spi3 = &spi3;
		serial0 = &uart0;
		serial1 = &uart1;
		serial2 = &uart2;
		serial3 = &uart3;
		serial4 = &uart4;
		ethernet0 = &ethernet0;
	};

	chosen {
		stdout-path = "serial0";
	};
};

